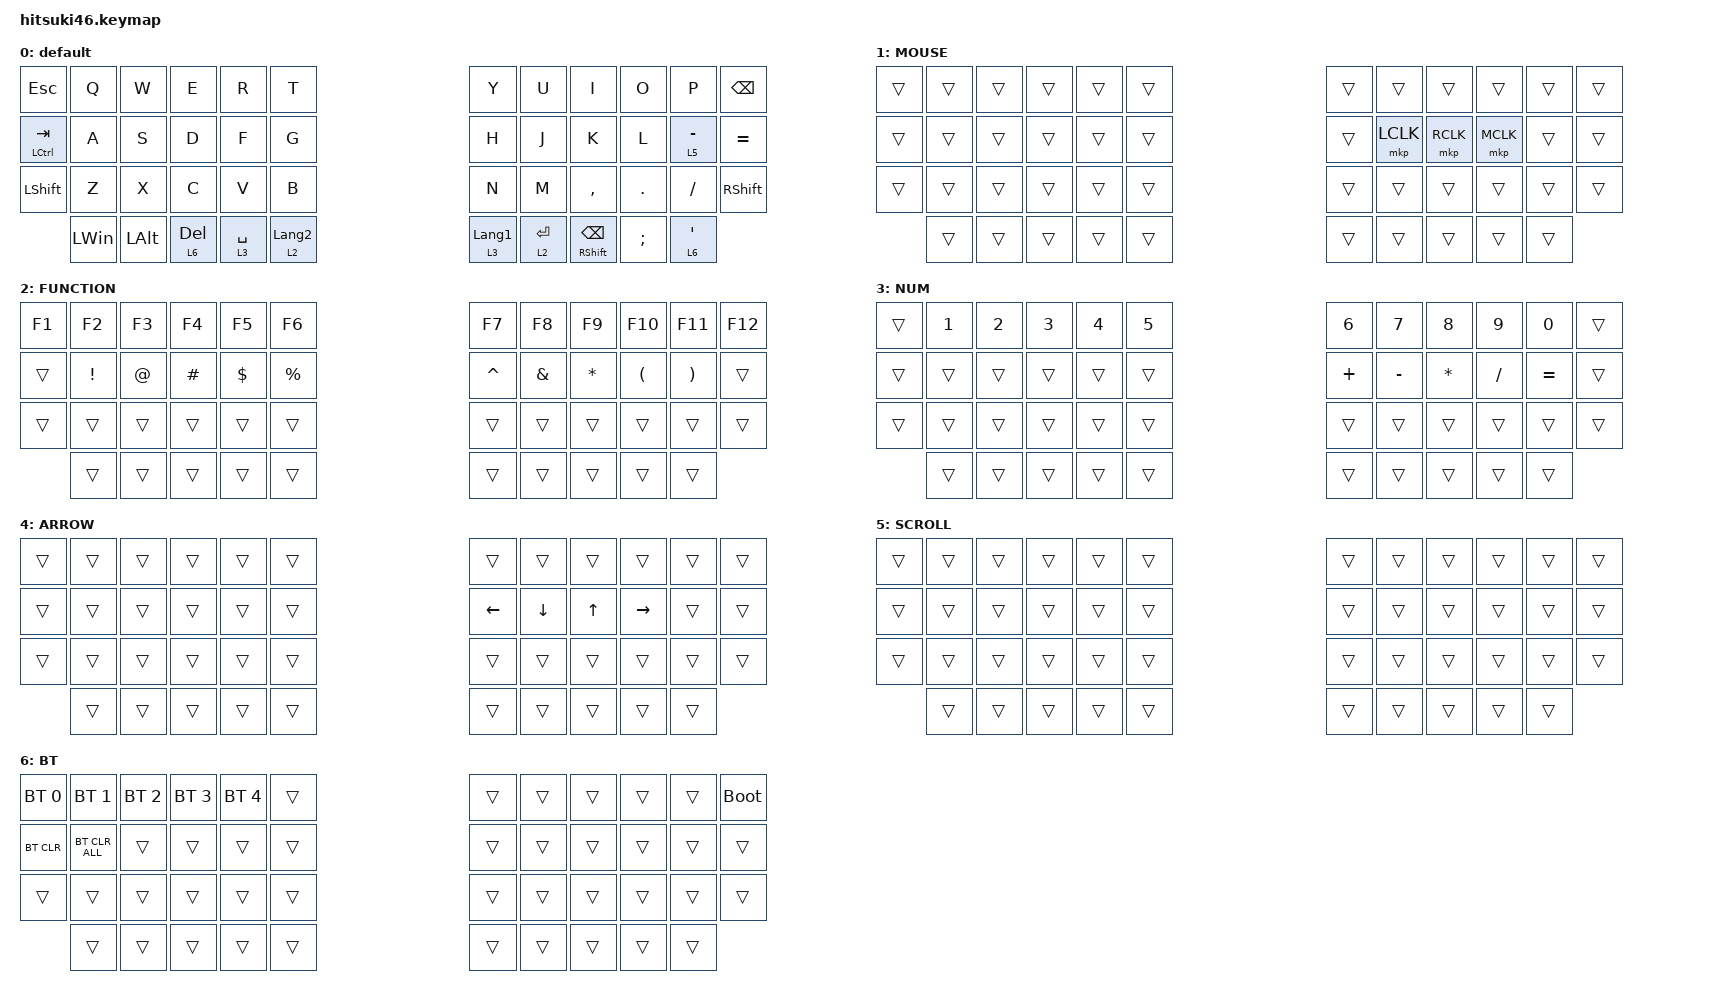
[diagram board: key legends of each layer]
#include <behaviors.dtsi>
#include <dt-bindings/zmk/bt.h>
#include <dt-bindings/zmk/keys.h>
#include <dt-bindings/zmk/pointing.h>

&mt {
    flavor = "balanced";
    quick-tap-ms = <0>;
};

/ {
    combos {
        compatible = "zmk,combos";

        tab {
            bindings = <&kp TAB>;
            key-positions = <11 12>;
        };

        shift_tab {
            bindings = <&kp LS(TAB)>;
            key-positions = <12 13>;
        };

        muhennkann {
            bindings = <&to_layer_0 INT_MUHENKAN>;
            key-positions = <11 10>;
        };

        double_quotation {
            bindings = <&kp DOUBLE_QUOTES>;
            key-positions = <20 21>;
        };

        eq {
            bindings = <&kp EQUAL>;
            key-positions = <24 25>;
        };
    };

    macros {
        to_layer_0: to_layer_0 {
            compatible = "zmk,behavior-macro-one-param";
            #binding-cells = <1>;
            bindings = <&to 0 &macro_param_1to1 &kp MACRO_PLACEHOLDER>;
            label = "TO_LAYER_0";
        };
    };

    behaviors {
        lt_to_layer_0: lt_to_layer_0 {
            compatible = "zmk,behavior-hold-tap";
            label = "LAYER_TAP_TO_0";
            bindings = <&mo>, <&to_layer_0>;
            #binding-cells = <2>;
            tapping-term-ms = <200>;
        };
    };

    keymap {
        compatible = "zmk,keymap";

        default {
            bindings = <
&kp ESCAPE      &kp Q         &kp W         &kp E         &kp R        &kp T             &kp Y             &kp U        &kp I                 &kp O          &kp P        &kp BACKSPACE
&mt LCTRL TAB   &kp A         &kp S         &kp D         &kp F        &kp G             &kp H             &kp J        &kp K                 &kp L          &lt 5 MINUS  &kp EQUAL
&kp LEFT_SHIFT  &kp Z         &kp X         &kp C         &kp V        &kp B             &kp N             &kp M        &kp COMMA             &kp PERIOD     &kp SLASH    &kp RSHFT
                &kp LEFT_WIN  &kp LEFT_ALT  &lt 6 DELETE  &lt 3 SPACE  &lt 2 LANGUAGE_2  &lt 3 LANGUAGE_1  &lt 2 ENTER  &mt RSHIFT BACKSPACE  &kp SEMICOLON  &lt 6 SINGLE_QUOTE
            >;
        };

        MOUSE {
            bindings = <
&trans          &trans        &trans        &trans        &trans       &trans            &trans            &trans       &trans                &trans         &trans       &trans
&trans          &trans        &trans        &trans        &trans       &trans            &trans            &mkp LCLK    &mkp RCLK             &mkp MCLK      &trans       &trans
&trans          &trans        &trans        &trans        &trans       &trans            &trans            &trans       &trans                &trans         &trans       &trans
                &trans        &trans        &trans        &trans       &trans            &trans            &trans       &trans                &trans         &trans
            >;
        };

        FUNCTION {
            bindings = <
&kp F1          &kp F2        &kp F3        &kp F4        &kp F5       &kp F6            &kp F7            &kp F8       &kp F9                &kp F10        &kp F11      &kp F12
&trans          &kp EXCL      &kp AT_SIGN  &kp HASH      &kp DLLR     &kp PRCNT         &kp CARET         &kp AMPS     &kp STAR              &kp LPAR       &kp RPAR     &trans
&trans          &trans        &trans        &trans        &trans       &trans            &trans            &trans       &trans                &trans         &trans       &trans
                &trans        &trans        &trans        &trans       &trans            &trans            &trans       &trans                &trans         &trans
            >;
        };

        NUM {
            bindings = <
&trans          &kp N1        &kp N2        &kp N3        &kp N4       &kp N5            &kp N6            &kp N7       &kp N8                &kp N9         &kp N0       &trans
&trans          &trans        &trans        &trans        &trans       &trans            &kp PLUS          &kp MINUS    &kp ASTERISK          &kp SLASH      &kp EQUAL    &trans
&trans          &trans        &trans        &trans        &trans       &trans            &trans            &trans       &trans                &trans         &trans       &trans
                &trans        &trans        &trans        &trans       &trans            &trans            &trans       &trans                &trans         &trans
            >;
        };

        ARROW {
            bindings = <
&trans          &trans        &trans        &trans        &trans       &trans            &trans            &trans       &trans                &trans         &trans       &trans
&trans          &trans        &trans        &trans        &trans       &trans            &kp LEFT          &kp DOWN     &kp UP                &kp RIGHT      &trans       &trans
&trans          &trans        &trans        &trans        &trans       &trans            &trans            &trans       &trans                &trans         &trans       &trans
                &trans        &trans        &trans        &trans       &trans            &trans            &trans       &trans                &trans         &trans
            >;
        };

        SCROLL {
            bindings = <
&trans          &trans        &trans        &trans        &trans       &trans            &trans            &trans       &trans                &trans         &trans       &trans
&trans          &trans        &trans        &trans        &trans       &trans            &trans            &trans       &trans                &trans         &trans       &trans
&trans          &trans        &trans        &trans        &trans       &trans            &trans            &trans       &trans                &trans         &trans       &trans
                &trans        &trans        &trans        &trans       &trans            &trans            &trans       &trans                &trans         &trans
            >;
        };

        BT {
            bindings = <
&bt BT_SEL 0    &bt BT_SEL 1  &bt BT_SEL 2  &bt BT_SEL 3  &bt BT_SEL 4  &trans            &trans            &trans       &trans                &trans         &trans       &bootloader
&bt BT_CLR      &bt BT_CLR_ALL &trans       &trans        &trans       &trans            &trans            &trans       &trans                &trans         &trans       &trans
&trans          &trans        &trans        &trans        &trans       &trans            &trans            &trans       &trans                &trans         &trans       &trans
                &trans        &trans        &trans        &trans       &trans            &trans            &trans       &trans                &trans         &trans
            >;
        };
    };
};
